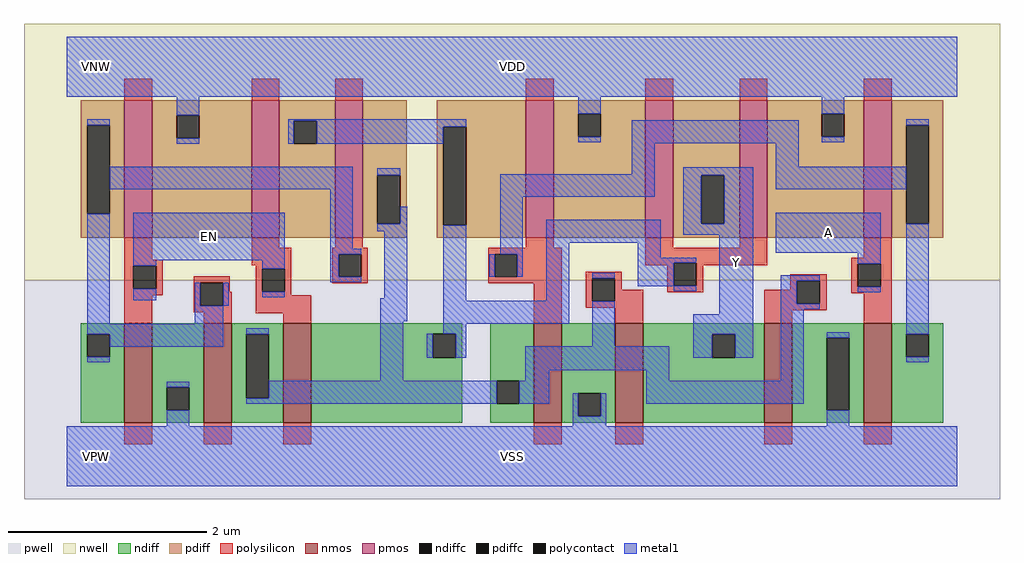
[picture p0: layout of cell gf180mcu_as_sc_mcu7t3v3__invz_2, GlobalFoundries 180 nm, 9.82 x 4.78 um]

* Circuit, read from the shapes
.subckt gf180mcu_as_sc_mcu7t3v3__invz_2 VDD VNW VPW VSS EN A Y
XM1 VSS EN n1 VPW nfet_03v3 w=1u l=0.28u
XM2 n2 n1 VSS VPW nfet_03v3 w=1u l=0.28u
XM3 n3 EN n2 VPW nfet_03v3 w=1u l=0.28u
XM4 VSS n4 n2 VPW nfet_03v3 w=1u l=0.28u
XM5 Y n2 VSS VPW nfet_03v3 w=1u l=0.28u m=2
XM6 n4 A VSS VPW nfet_03v3 w=1u l=0.28u
XM7 VDD EN n1 VNW pfet_03v3 w=1.38u l=0.28u
XM8 n3 EN VDD VNW pfet_03v3 w=1.38u l=0.28u
XM9 n2 n1 n3 VNW pfet_03v3 w=1.38u l=0.28u
XM10 VDD n4 n3 VNW pfet_03v3 w=1.38u l=0.28u
XM11 Y n3 VDD VNW pfet_03v3 w=1.38u l=0.28u m=2
XM12 n4 A VDD VNW pfet_03v3 w=1.38u l=0.28u
.ends

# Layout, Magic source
magic
tech gf180mcuD
magscale 1 10
<< nwell >>
rect -86 354 1878 870
<< pwell >>
rect -86 -86 1878 354
<< nmos >>
rect 116 68 172 268
rect 276 68 332 268
rect 436 68 492 268
rect 940 68 996 268
rect 1104 68 1160 268
rect 1404 68 1460 268
rect 1604 68 1660 268
<< pmos >>
rect 116 440 172 716
rect 372 440 428 716
rect 540 440 596 716
rect 924 440 980 716
rect 1164 440 1220 716
rect 1354 440 1410 716
rect 1604 440 1660 716
<< ndiff >>
rect 28 246 116 268
rect 28 200 41 246
rect 87 200 116 246
rect 28 68 116 200
rect 172 139 276 268
rect 172 93 201 139
rect 247 93 276 139
rect 172 68 276 93
rect 332 246 436 268
rect 332 117 361 246
rect 407 117 436 246
rect 332 68 436 117
rect 492 247 796 268
rect 492 198 737 247
rect 783 198 796 247
rect 492 68 796 198
rect 852 152 940 268
rect 852 106 865 152
rect 911 106 940 152
rect 852 68 940 106
rect 996 127 1104 268
rect 996 81 1029 127
rect 1075 81 1104 127
rect 996 68 1104 81
rect 1160 246 1404 268
rect 1160 198 1299 246
rect 1345 198 1404 246
rect 1160 68 1404 198
rect 1460 239 1604 268
rect 1460 93 1529 239
rect 1575 93 1604 239
rect 1460 68 1604 93
rect 1660 246 1764 268
rect 1660 200 1689 246
rect 1735 200 1764 246
rect 1660 68 1764 200
<< pdiff >>
rect 28 666 116 716
rect 28 488 41 666
rect 87 488 116 666
rect 28 440 116 488
rect 172 686 372 716
rect 172 640 221 686
rect 267 640 372 686
rect 172 440 372 640
rect 428 675 540 716
rect 428 629 457 675
rect 503 629 540 675
rect 428 440 540 629
rect 596 566 684 716
rect 596 468 625 566
rect 671 468 684 566
rect 596 440 684 468
rect 745 663 924 716
rect 745 465 758 663
rect 804 465 924 663
rect 745 440 924 465
rect 980 689 1164 716
rect 980 643 1029 689
rect 1075 643 1164 689
rect 980 440 1164 643
rect 1220 566 1354 716
rect 1220 468 1277 566
rect 1323 468 1354 566
rect 1220 440 1354 468
rect 1410 689 1604 716
rect 1410 643 1519 689
rect 1565 643 1604 689
rect 1410 440 1604 643
rect 1660 666 1764 716
rect 1660 468 1689 666
rect 1735 468 1764 666
rect 1660 440 1764 468
<< ndiffc >>
rect 41 200 87 246
rect 201 93 247 139
rect 361 117 407 246
rect 737 198 783 247
rect 865 106 911 152
rect 1029 81 1075 127
rect 1299 198 1345 246
rect 1529 93 1575 239
rect 1689 200 1735 246
<< pdiffc >>
rect 41 488 87 666
rect 221 640 267 686
rect 457 629 503 675
rect 625 468 671 566
rect 758 465 804 663
rect 1029 643 1075 689
rect 1277 468 1323 566
rect 1519 643 1565 689
rect 1689 468 1735 666
<< polysilicon >>
rect 116 716 172 760
rect 372 716 428 760
rect 540 716 596 760
rect 924 716 980 760
rect 1164 716 1220 760
rect 1354 716 1410 760
rect 1604 716 1660 760
rect 116 396 172 440
rect 372 420 428 440
rect 540 420 596 440
rect 924 420 980 440
rect 1164 420 1220 440
rect 1354 420 1410 440
rect 116 383 193 396
rect 372 384 452 420
rect 116 337 134 383
rect 180 337 193 383
rect 380 377 452 384
rect 116 324 193 337
rect 256 349 328 362
rect 116 268 172 324
rect 256 303 269 349
rect 315 331 328 349
rect 380 331 393 377
rect 439 331 452 377
rect 534 407 606 420
rect 534 361 547 407
rect 593 361 606 407
rect 534 348 606 361
rect 848 407 996 420
rect 848 361 861 407
rect 907 361 996 407
rect 1164 389 1410 420
rect 1604 400 1660 440
rect 1164 384 1221 389
rect 848 348 996 361
rect 315 303 332 331
rect 256 290 332 303
rect 276 268 332 290
rect 380 324 452 331
rect 380 288 492 324
rect 436 268 492 288
rect 940 268 996 348
rect 1044 358 1117 371
rect 1044 312 1057 358
rect 1103 335 1117 358
rect 1208 343 1221 384
rect 1267 384 1410 389
rect 1579 387 1660 400
rect 1267 343 1281 384
rect 1103 312 1160 335
rect 1208 330 1281 343
rect 1456 353 1529 366
rect 1456 335 1469 353
rect 1044 299 1160 312
rect 1104 268 1160 299
rect 1404 307 1469 335
rect 1515 307 1529 353
rect 1579 341 1592 387
rect 1638 341 1660 387
rect 1579 328 1660 341
rect 1404 294 1529 307
rect 1404 268 1460 294
rect 1604 268 1660 328
rect 116 24 172 68
rect 276 24 332 68
rect 436 24 492 68
rect 940 24 996 68
rect 1104 24 1160 68
rect 1404 24 1460 68
rect 1604 24 1660 68
<< polycontact >>
rect 134 337 180 383
rect 269 303 315 349
rect 393 331 439 377
rect 547 361 593 407
rect 861 361 907 407
rect 1057 312 1103 358
rect 1221 343 1267 389
rect 1469 307 1515 353
rect 1592 341 1638 387
<< metal1 >>
rect 0 724 1792 844
rect 221 686 267 724
rect 41 666 87 678
rect 1029 689 1075 724
rect 221 629 267 640
rect 446 675 804 678
rect 446 629 457 675
rect 503 663 804 675
rect 503 629 758 663
rect 87 537 576 583
rect 41 267 87 488
rect 134 395 439 490
rect 134 383 180 395
rect 393 377 439 395
rect 134 314 180 337
rect 258 303 269 349
rect 315 303 326 349
rect 530 418 576 537
rect 625 566 671 580
rect 671 468 685 502
rect 625 453 685 468
rect 530 407 593 418
rect 530 361 547 407
rect 530 350 593 361
rect 393 320 439 331
rect 639 318 685 453
rect 258 267 315 303
rect 41 246 315 267
rect 631 272 685 318
rect 1519 689 1565 724
rect 1029 632 1075 643
rect 1137 630 1473 676
rect 1519 632 1565 643
rect 1689 666 1735 678
rect 1137 568 1183 630
rect 1427 583 1473 630
rect 758 313 804 465
rect 872 522 1183 568
rect 1241 566 1381 582
rect 872 407 918 522
rect 850 361 861 407
rect 907 361 918 407
rect 965 430 1195 476
rect 1241 468 1277 566
rect 1323 468 1381 566
rect 1427 537 1689 583
rect 1241 446 1381 468
rect 965 313 1011 430
rect 1149 400 1195 430
rect 1149 389 1267 400
rect 87 220 315 246
rect 361 246 407 258
rect 41 189 87 200
rect 201 139 247 150
rect 631 152 677 272
rect 758 267 1011 313
rect 1057 358 1103 369
rect 1149 343 1221 389
rect 1149 342 1267 343
rect 1221 332 1267 342
rect 758 247 804 267
rect 724 198 737 247
rect 783 198 804 247
rect 1057 221 1103 312
rect 1313 286 1381 446
rect 1427 410 1638 490
rect 1592 387 1638 410
rect 1261 246 1381 286
rect 923 173 1212 221
rect 1261 198 1299 246
rect 1345 198 1381 246
rect 1437 353 1515 364
rect 1437 307 1469 353
rect 1592 330 1638 341
rect 1437 296 1515 307
rect 923 152 971 173
rect 407 117 865 152
rect 361 106 865 117
rect 911 106 971 152
rect 1166 152 1212 173
rect 1437 152 1483 296
rect 201 60 247 93
rect 1018 81 1029 127
rect 1075 81 1086 127
rect 1166 106 1483 152
rect 1529 239 1575 250
rect 1018 60 1086 81
rect 1689 246 1735 468
rect 1689 189 1735 200
rect 1529 60 1575 93
rect 0 -60 1792 60
<< labels >>
flabel metal1 s 0 724 1792 844 0 FreeSans 400 0 0 0 VDD
port 1 nsew power bidirectional abutment
flabel metal1 s 0 -60 1792 60 0 FreeSans 400 0 0 0 VSS
port 4 nsew ground bidirectional abutment
flabel nwell s 10 734 110 834 0 FreeSans 400 0 0 0 VNW
port 2 nsew power bidirectional
flabel pwell s 10 -50 110 50 0 FreeSans 400 0 0 0 VPW
port 3 nsew ground bidirectional
flabel metal1 s 134 395 439 490 0 FreeSans 416 0 0 0 EN
port 5 nsew
flabel metal1 s 1427 410 1638 490 0 FreeSans 416 0 0 0 A
port 6 nsew
flabel metal1 s 1313 198 1381 582 0 FreeSans 416 0 0 0 Y
port 7 nsew
<< properties >>
string FIXED_BBOX 0 0 1792 784
string LEFclass CORE
string LEFsite unithd
string LEFsymmetry X Y
string MASKHINTS_NPLUS -16 -46 1808 354
string MASKHINTS_PPLUS -16 354 1808 830
<< end >>
